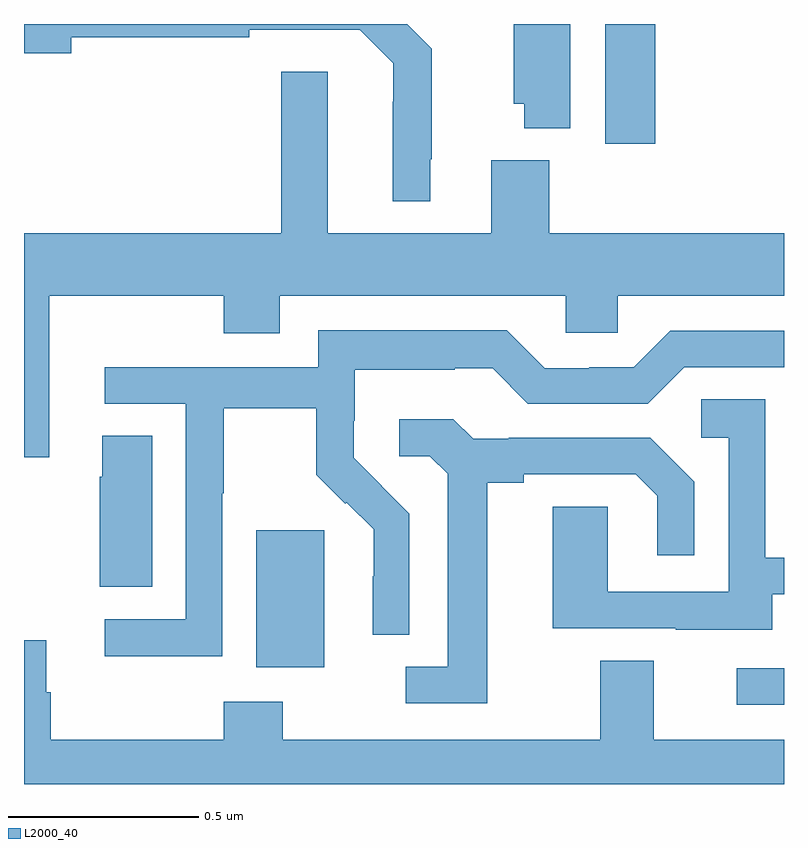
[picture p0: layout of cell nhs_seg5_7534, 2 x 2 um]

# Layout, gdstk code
import gdstk
lib = gdstk.Library(unit=1e-6, precision=1e-09)
def R(c, l, rs):  # rectangles x0, y0, x1, y1
    for r in rs: c.add(gdstk.rectangle(r[:2], r[2:], *l))
def P(c, l, *ps):  # polygons
    for p in ps: c.add(gdstk.Polygon(p, *l))
L2000_40 = (2000, 40)

nhs_seg5_7534 = lib.new_cell('nhs_seg5_7534')
R(nhs_seg5_7534, L2000_40, [(211.875,865.008,212,865.104), (210.611,865.106,210.79,865.467), (211.529,866.484,211.661,866.799)])
P(nhs_seg5_7534, L2000_40, [(211.069,866.443),(211.073,866.443),(211.073,866.734),(211.008,866.799),(210,866.799),(210,866.722),(210.124,866.722),(210.124,866.764),(210.593,866.764),(210.593,866.784),(210.884,866.784),(210.972,866.696),(210.972,866.594),(210.971,866.594),(210.971,866.333),(211.069,866.333)],
  [(211.438,866.799),(211.289,866.799),(211.289,866.589),(211.316,866.589),(211.316,866.525),(211.438,866.525)],
  [(210.067,866.084),(210.526,866.084),(210.526,865.985),(210.673,865.985),(210.673,866.084),(211.425,866.084),(211.425,865.986),(211.563,865.986),(211.563,866.084),(212,866.084),(212,866.248),(211.382,866.248),(211.382,866.44),(211.229,866.44),(211.229,866.248),(210.799,866.248),(210.799,866.674),(210.677,866.674),(210.677,866.248),(210,866.248),(210,865.659),(210.067,865.659)],
  [(210.522,865.564),(210.525,865.564),(210.525,865.788),(210.769,865.788),(210.769,865.613),(210.846,865.536),(210.849,865.539),(210.92,865.469),(210.92,865.346),(210.918,865.346),(210.918,865.192),(211.014,865.192),(211.014,865.51),(210.941,865.583),(210.942,865.584),(210.868,865.658),(210.868,865.755),(210.87,865.755),(210.87,865.889),(211.133,865.889),(211.133,865.893),(211.233,865.893),(211.326,865.8),(211.641,865.8),(211.737,865.896),(212,865.896),(212,865.992),(211.701,865.992),(211.605,865.896),(211.487,865.896),(211.487,865.893),(211.371,865.893),(211.271,865.993),(210.774,865.993),(210.774,865.896),(210.213,865.896),(210.213,865.8),(210.426,865.8),(210.426,865.233),(210.213,865.233),(210.213,865.135),(210.522,865.135)],
  [(211.969,865.299),(212,865.299),(212,865.395),(211.95,865.395),(211.95,865.811),(211.782,865.811),(211.782,865.71),(211.854,865.71),(211.854,865.305),(211.536,865.305),(211.536,865.529),(211.391,865.529),(211.391,865.209),(211.715,865.209),(211.715,865.205),(211.969,865.205)],
  [(211.219,865.592),(211.315,865.592),(211.315,865.614),(211.61,865.614),(211.667,865.557),(211.667,865.401),(211.764,865.401),(211.764,865.594),(211.648,865.71),(211.276,865.71),(211.276,865.707),(211.182,865.707),(211.13,865.759),(210.987,865.759),(210.987,865.662),(211.068,865.662),(211.115,865.615),(211.115,865.107),(211.005,865.107),(211.005,865.011),(211.219,865.011)],
  [(210.337,865.715),(210.206,865.715),(210.206,865.607),(210.199,865.607),(210.199,865.318),(210.337,865.318)],
  [(212,864.916),(211.657,864.916),(211.657,865.124),(211.517,865.124),(211.517,864.916),(210.681,864.916),(210.681,865.015),(210.526,865.015),(210.526,864.916),(210.07,864.916),(210.07,865.04),(210.058,865.04),(210.058,865.177),(210,865.177),(210,864.799),(212,864.799)])

lib.write_gds('nhs_seg5_7534.gds')
